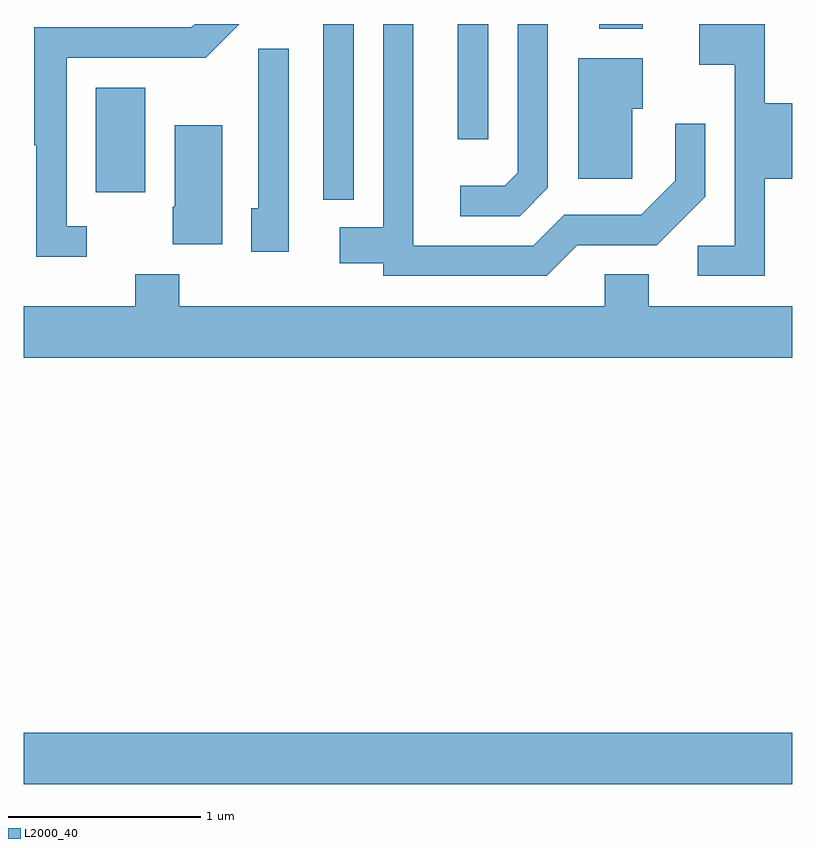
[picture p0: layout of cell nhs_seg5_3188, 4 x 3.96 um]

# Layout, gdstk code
import gdstk
lib = gdstk.Library(unit=1e-6, precision=1e-09)
def R(c, l, rs):  # rectangles x0, y0, x1, y1
    for r in rs: c.add(gdstk.rectangle(r[:2], r[2:], *l))
def P(c, l, *ps):  # polygons
    for p in ps: c.add(gdstk.Polygon(p, *l))
L2000_40 = (2000, 40)

nhs_seg5_3188 = lib.new_cell('nhs_seg5_3188')
R(nhs_seg5_3188, L2000_40, [(279.611,1470.116,283.611,1470.384), (281.171,1473.158,281.329,1474.072), (279.986,1473.196,280.244,1473.739), (281.871,1473.473,282.029,1474.072), (282.606,1474.046,282.834,1474.072)])
P(nhs_seg5_3188, L2000_40, [(282.492,1472.921),(282.907,1472.921),(283.159,1473.174),(283.159,1473.553),(283.001,1473.553),(283.001,1473.257),(282.824,1473.079),(282.424,1473.079),(282.264,1472.919),(281.639,1472.919),(281.639,1474.072),(281.481,1474.072),(281.481,1473.014),(281.256,1473.014),(281.256,1472.826),(281.481,1472.826),(281.481,1472.761),(282.332,1472.761)],
  [(283.469,1473.266),(283.611,1473.266),(283.611,1473.659),(283.469,1473.659),(283.469,1474.072),(283.126,1474.072),(283.126,1473.861),(283.311,1473.861),(283.311,1472.919),(283.118,1472.919),(283.118,1472.761),(283.469,1472.761)],
  [(279.938,1473.019),(279.834,1473.019),(279.834,1473.896),(280.557,1473.896),(280.732,1474.072),(280.502,1474.072),(280.484,1474.054),(279.666,1474.054),(279.666,1473.44),(279.676,1473.44),(279.676,1472.861),(279.938,1472.861)],
  [(282.339,1473.219),(282.339,1474.072),(282.181,1474.072),(282.181,1473.297),(282.114,1473.229),(281.883,1473.229),(281.883,1473.071),(282.192,1473.071)],
  [(280.989,1473.943),(280.831,1473.943),(280.831,1473.114),(280.796,1473.114),(280.796,1472.886),(280.989,1472.886)],
  [(282.779,1473.631),(282.834,1473.631),(282.834,1473.894),(282.496,1473.894),(282.496,1473.266),(282.779,1473.266)],
  [(280.644,1473.544),(280.396,1473.544),(280.396,1473.12),(280.386,1473.12),(280.386,1472.926),(280.644,1472.926)],
  [(283.611,1472.604),(282.864,1472.604),(282.864,1472.769),(282.636,1472.769),(282.636,1472.604),(280.419,1472.604),(280.419,1472.769),(280.191,1472.769),(280.191,1472.604),(279.611,1472.604),(279.611,1472.336),(283.611,1472.336)])

lib.write_gds('nhs_seg5_3188.gds')
